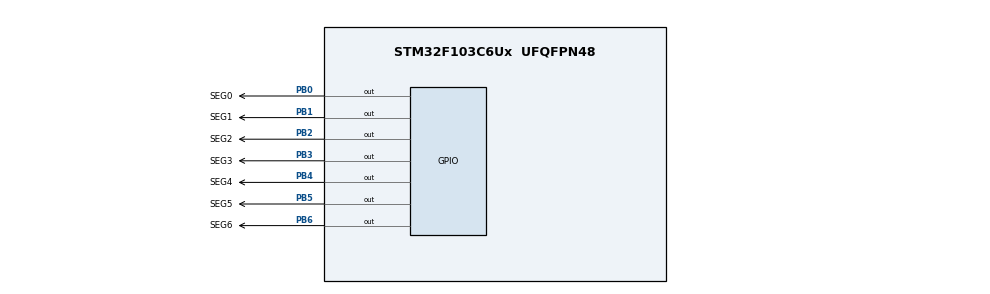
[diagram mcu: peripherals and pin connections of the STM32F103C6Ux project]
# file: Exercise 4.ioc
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Mcu.Family=STM32F1
Mcu.Name=STM32F103C6Ux
Mcu.Package=UFQFPN48
NVIC.PriorityGroup=NVIC_PRIORITYGROUP_4
PB0.GPIO_Label=SEG0
PB0.Signal=GPIO_Output
PB1.GPIO_Label=SEG1
PB1.Signal=GPIO_Output
PB2.GPIO_Label=SEG2
PB2.Signal=GPIO_Output
PB3.GPIO_Label=SEG3
PB3.Signal=GPIO_Output
PB4.GPIO_Label=SEG4
PB4.Signal=GPIO_Output
PB5.GPIO_Label=SEG5
PB5.Signal=GPIO_Output
PB6.GPIO_Label=SEG6
PB6.Signal=GPIO_Output
ProjectManager.HeapSize=0x200
ProjectManager.StackSize=0x400
ProjectManager.TargetToolchain=STM32CubeIDE
RCC.APB1Freq_Value=8000000
RCC.APB2Freq_Value=8000000
VP_SYS_VS_ND.Mode=No_Debug
board=custom

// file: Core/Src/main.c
/* USER CODE BEGIN Header */
/**
  ******************************************************************************
  * @file           : main.c
  * @brief          : Main program body
  ******************************************************************************
  * @attention
  *
  * <h2><center>&copy; Copyright (c) 2023 STMicroelectronics.
  * All rights reserved.</center></h2>
  *
  * This software component is licensed by ST under BSD 3-Clause license,
  * the "License"; You may not use this file except in compliance with the
  * License. You may obtain a copy of the License at:
  *                        opensource.org/licenses/BSD-3-Clause
  *
  ******************************************************************************
  */
/* USER CODE END Header */
#include "main.h"

void SystemClock_Config(void);
static void MX_GPIO_Init(void);

/* USER CODE BEGIN 0 */
void display7SEG(int counter){
	switch(counter){
	 case 0 : {
		HAL_GPIO_WritePin(SEG0_GPIO_Port, SEG0_Pin, 0);
		HAL_GPIO_WritePin(SEG1_GPIO_Port, SEG1_Pin, 0);
		HAL_GPIO_WritePin(SEG2_GPIO_Port, SEG2_Pin, 0);
		HAL_GPIO_WritePin(SEG3_GPIO_Port, SEG3_Pin, 0);
		HAL_GPIO_WritePin(SEG4_GPIO_Port, SEG4_Pin, 0);
		HAL_GPIO_WritePin(SEG5_GPIO_Port, SEG5_Pin, 0);
		HAL_GPIO_WritePin(SEG6_GPIO_Port, SEG6_Pin, 1);
		break;
	 }
	 case 1 : {
		 HAL_GPIO_WritePin(SEG0_GPIO_Port, SEG0_Pin, 1);
		 HAL_GPIO_WritePin(SEG1_GPIO_Port, SEG1_Pin, 0);
		 HAL_GPIO_WritePin(SEG2_GPIO_Port, SEG2_Pin, 0);
		 HAL_GPIO_WritePin(SEG3_GPIO_Port, SEG3_Pin, 1);
		 HAL_GPIO_WritePin(SEG4_GPIO_Port, SEG4_Pin, 1);
		 HAL_GPIO_WritePin(SEG5_GPIO_Port, SEG5_Pin, 1);
		 HAL_GPIO_WritePin(SEG6_GPIO_Port, SEG6_Pin, 1);
		 break;
	 }
	 case 2 : {
		 HAL_GPIO_WritePin(SEG0_GPIO_Port, SEG0_Pin, 0);
		 HAL_GPIO_WritePin(SEG1_GPIO_Port, SEG1_Pin, 0);
		 HAL_GPIO_WritePin(SEG2_GPIO_Port, SEG2_Pin, 1);
		 HAL_GPIO_WritePin(SEG3_GPIO_Port, SEG3_Pin, 0);
		 HAL_GPIO_WritePin(SEG4_GPIO_Port, SEG4_Pin, 0);
		 HAL_GPIO_WritePin(SEG5_GPIO_Port, SEG5_Pin, 1);
		 HAL_GPIO_WritePin(SEG6_GPIO_Port, SEG6_Pin, 0);
		 break;
	 }
	 case 3 : {
		 HAL_GPIO_WritePin(SEG0_GPIO_Port, SEG0_Pin, 0);
		 HAL_GPIO_WritePin(SEG1_GPIO_Port, SEG1_Pin, 0);
		 HAL_GPIO_WritePin(SEG2_GPIO_Port, SEG2_Pin, 0);
		 HAL_GPIO_WritePin(SEG3_GPIO_Port, SEG3_Pin, 0);
		 HAL_GPIO_WritePin(SEG4_GPIO_Port, SEG4_Pin, 1);
		 HAL_GPIO_WritePin(SEG5_GPIO_Port, SEG5_Pin, 1);
		 HAL_GPIO_WritePin(SEG6_GPIO_Port, SEG6_Pin, 0);
		 break;
	 }
	 case 4 : {
		 HAL_GPIO_WritePin(SEG0_GPIO_Port, SEG0_Pin, 1);
		 HAL_GPIO_WritePin(SEG1_GPIO_Port, SEG1_Pin, 0);
		 HAL_GPIO_WritePin(SEG2_GPIO_Port, SEG2_Pin, 0);
		 HAL_GPIO_WritePin(SEG3_GPIO_Port, SEG3_Pin, 1);
		 HAL_GPIO_WritePin(SEG4_GPIO_Port, SEG4_Pin, 1);
		 HAL_GPIO_WritePin(SEG5_GPIO_Port, SEG5_Pin, 0);
		 HAL_GPIO_WritePin(SEG6_GPIO_Port, SEG6_Pin, 0);
		 break;
	 }
	 case 5 : {
		 HAL_GPIO_WritePin(SEG0_GPIO_Port, SEG0_Pin, 0);
		 HAL_GPIO_WritePin(SEG1_GPIO_Port, SEG1_Pin, 1);
		 HAL_GPIO_WritePin(SEG2_GPIO_Port, SEG2_Pin, 0);
		 HAL_GPIO_WritePin(SEG3_GPIO_Port, SEG3_Pin, 0);
		 HAL_GPIO_WritePin(SEG4_GPIO_Port, SEG4_Pin, 1);
		 HAL_GPIO_WritePin(SEG5_GPIO_Port, SEG5_Pin, 0);
		 HAL_GPIO_WritePin(SEG6_GPIO_Port, SEG6_Pin, 0);
		 break;
	 }
	 case 6 : {
		 HAL_GPIO_WritePin(SEG0_GPIO_Port, SEG0_Pin, 0);
		 HAL_GPIO_WritePin(SEG1_GPIO_Port, SEG1_Pin, 1);
		 HAL_GPIO_WritePin(SEG2_GPIO_Port, SEG2_Pin, 0);
		 HAL_GPIO_WritePin(SEG3_GPIO_Port, SEG3_Pin, 0);
		 HAL_GPIO_WritePin(SEG4_GPIO_Port, SEG4_Pin, 0);
		 HAL_GPIO_WritePin(SEG5_GPIO_Port, SEG5_Pin, 0);
		 HAL_GPIO_WritePin(SEG6_GPIO_Port, SEG6_Pin, 0);
		 break;
	 }
	 case 7 : {
		 HAL_GPIO_WritePin(SEG0_GPIO_Port, SEG0_Pin, 0);
		 HAL_GPIO_WritePin(SEG1_GPIO_Port, SEG1_Pin, 0);
		 HAL_GPIO_WritePin(SEG2_GPIO_Port, SEG2_Pin, 0);
		 HAL_GPIO_WritePin(SEG3_GPIO_Port, SEG3_Pin, 1);
		 HAL_GPIO_WritePin(SEG4_GPIO_Port, SEG4_Pin, 1);
		 HAL_GPIO_WritePin(SEG5_GPIO_Port, SEG5_Pin, 1);
		 HAL_GPIO_WritePin(SEG6_GPIO_Port, SEG6_Pin, 1);
		 break;
	 }
	 case 8 : {
		 HAL_GPIO_WritePin(SEG0_GPIO_Port, SEG0_Pin, 0);
		 HAL_GPIO_WritePin(SEG1_GPIO_Port, SEG1_Pin, 0);
		 HAL_GPIO_WritePin(SEG2_GPIO_Port, SEG2_Pin, 0);
		 HAL_GPIO_WritePin(SEG3_GPIO_Port, SEG3_Pin, 0);
		 HAL_GPIO_WritePin(SEG4_GPIO_Port, SEG4_Pin, 0);
		 HAL_GPIO_WritePin(SEG5_GPIO_Port, SEG5_Pin, 0);
		 HAL_GPIO_WritePin(SEG6_GPIO_Port, SEG6_Pin, 0);
		 break;
	 }
	 case 9 : {
		 HAL_GPIO_WritePin(SEG0_GPIO_Port, SEG0_Pin, 0);
		 HAL_GPIO_WritePin(SEG1_GPIO_Port, SEG1_Pin, 0);
		 HAL_GPIO_WritePin(SEG2_GPIO_Port, SEG2_Pin, 0);
		 HAL_GPIO_WritePin(SEG3_GPIO_Port, SEG3_Pin, 0);
		 HAL_GPIO_WritePin(SEG4_GPIO_Port, SEG4_Pin, 1);
		 HAL_GPIO_WritePin(SEG5_GPIO_Port, SEG5_Pin, 0);
		 HAL_GPIO_WritePin(SEG6_GPIO_Port, SEG6_Pin, 0);
		 break;
	 }
	 default : {
		 HAL_GPIO_WritePin(SEG0_GPIO_Port, SEG0_Pin, 1);
		 HAL_GPIO_WritePin(SEG1_GPIO_Port, SEG1_Pin, 1);
		 HAL_GPIO_WritePin(SEG2_GPIO_Port, SEG2_Pin, 1);
		 HAL_GPIO_WritePin(SEG3_GPIO_Port, SEG3_Pin, 1);
		 HAL_GPIO_WritePin(SEG4_GPIO_Port, SEG4_Pin, 1);
		 HAL_GPIO_WritePin(SEG5_GPIO_Port, SEG5_Pin, 1);
		 HAL_GPIO_WritePin(SEG6_GPIO_Port, SEG6_Pin, 1);
		 break;
	 }
	}
}
/* USER CODE END 0 */

int main(void)
{

  /* MCU Configuration--------------------------------------------------------*/

  /* Reset of all peripherals, Initializes the Flash interface and the Systick. */
  HAL_Init();

  /* Configure the system clock */
  SystemClock_Config();

  /* Initialize all configured peripherals */
  MX_GPIO_Init();
  /* USER CODE BEGIN 2 */
  int counter = 0;
  /* USER CODE END 2 */

  /* Infinite loop */
  while (1)
  {
	if(counter >= 10) counter = 0;
	display7SEG(counter++);
	HAL_Delay(1000);
  }
}

void SystemClock_Config(void)
{
  RCC_OscInitTypeDef RCC_OscInitStruct = {0};
  RCC_ClkInitTypeDef RCC_ClkInitStruct = {0};

  /** Initializes the RCC Oscillators according to the specified parameters
  * in the RCC_OscInitTypeDef structure.
  */
  RCC_OscInitStruct.OscillatorType = RCC_OSCILLATORTYPE_HSI;
  RCC_OscInitStruct.HSIState = RCC_HSI_ON;
  RCC_OscInitStruct.HSICalibrationValue = RCC_HSICALIBRATION_DEFAULT;
  RCC_OscInitStruct.PLL.PLLState = RCC_PLL_NONE;
  if (HAL_RCC_OscConfig(&RCC_OscInitStruct) != HAL_OK)
  {
    Error_Handler();
  }
  /** Initializes the CPU, AHB and APB buses clocks
  */
  RCC_ClkInitStruct.ClockType = RCC_CLOCKTYPE_HCLK|RCC_CLOCKTYPE_SYSCLK
                              |RCC_CLOCKTYPE_PCLK1|RCC_CLOCKTYPE_PCLK2;
  RCC_ClkInitStruct.SYSCLKSource = RCC_SYSCLKSOURCE_HSI;
  RCC_ClkInitStruct.AHBCLKDivider = RCC_SYSCLK_DIV1;
  RCC_ClkInitStruct.APB1CLKDivider = RCC_HCLK_DIV1;
  RCC_ClkInitStruct.APB2CLKDivider = RCC_HCLK_DIV1;

  if (HAL_RCC_ClockConfig(&RCC_ClkInitStruct, FLASH_LATENCY_0) != HAL_OK)
  {
    Error_Handler();
  }
}

static void MX_GPIO_Init(void)
{
  GPIO_InitTypeDef GPIO_InitStruct = {0};

  /* GPIO Ports Clock Enable */
  __HAL_RCC_GPIOB_CLK_ENABLE();

  /*Configure GPIO pin Output Level */
  HAL_GPIO_WritePin(GPIOB, SEG0_Pin|SEG1_Pin|SEG2_Pin|SEG3_Pin
                          |SEG4_Pin|SEG5_Pin|SEG6_Pin, GPIO_PIN_RESET);

  /*Configure GPIO pins : SEG0_Pin SEG1_Pin SEG2_Pin SEG3_Pin
                           SEG4_Pin SEG5_Pin SEG6_Pin */
  GPIO_InitStruct.Pin = SEG0_Pin|SEG1_Pin|SEG2_Pin|SEG3_Pin
                          |SEG4_Pin|SEG5_Pin|SEG6_Pin;
  GPIO_InitStruct.Mode = GPIO_MODE_OUTPUT_PP;
  GPIO_InitStruct.Pull = GPIO_NOPULL;
  GPIO_InitStruct.Speed = GPIO_SPEED_FREQ_LOW;
  HAL_GPIO_Init(GPIOB, &GPIO_InitStruct);

}

void Error_Handler(void)
{
  __disable_irq();
  while (1)
  {
  }
}

/************************ (C) COPYRIGHT STMicroelectronics *****END OF FILE****/
